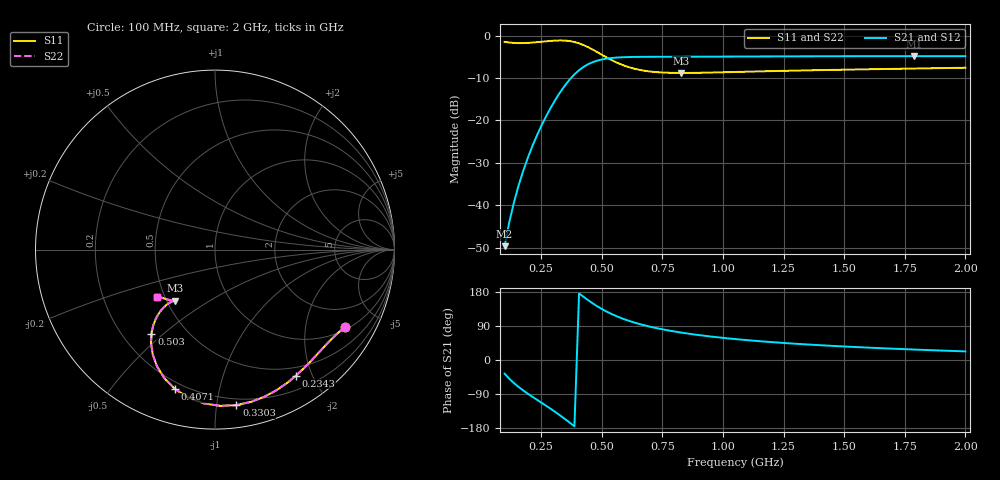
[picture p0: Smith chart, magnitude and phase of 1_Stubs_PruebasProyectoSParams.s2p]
! Created Sat Nov 25 14:30:50 2023
# hz S ri R 50
! 2 Port Network Data from SP1.SP block
! freq  reS11  imS11  reS21  imS21  reS12  imS12  reS22  imS22
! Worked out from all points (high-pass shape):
!   100 points, 100 MHz to 2 GHz, reference 50 ohm
!   highest |S21| = -4.86 dB at 1.789 GHz (marker M1); lowest = -49.6 dB at 100 MHz (marker M2)
!   |S21| within 3 dB of the highest: 414.4 MHz to end of sweep
!   lowest |S11| = -8.8 dB at 829.3 MHz (marker M3), VSWR 2.14, Z = 27.5 - j18 ohm
!   |S11| at or under -10 dB: nowhere
!   |S22| runs from -8.8 to -1.2 dB; largest |S21 - S12| = 1e-15
!   S11 on the Smith chart (normalised r, x): 100 MHz: 1.11, -3.31; 234.3 MHz: 0.38, -1.77; 330.3 MHz: 0.15, -1.13; 407.1 MHz: 0.17, -0.74; 503 MHz: 0.32, -0.46; 2 GHz: 0.45, -0.29
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1e8  0.7256 -0.4292  0.00266 -0.00194  0.00266 -0.00194  0.7256 -0.4292
1.191919e8  0.6831 -0.4663  0.00411 -0.00479  0.00411 -0.00479  0.6831 -0.4663
1.383838e8  0.6452 -0.5028  0.00525 -0.00943  0.00525 -0.00943  0.6452 -0.5028
1.575758e8  0.6093 -0.5402  0.00553 -0.0161  0.00553 -0.0161  0.6093 -0.5402
1.959596e8  0.5364 -0.6189  0.00063 -0.0364  0.00063 -0.0364  0.5364 -0.6189
2.343434e8  0.4514 -0.702  -0.0178 -0.0651  -0.0178 -0.0651  0.4514 -0.702
2.919192e8  0.2769 -0.819  -0.0917 -0.1108  -0.0917 -0.1108  0.2769 -0.819
3.30303e8  0.119 -0.8664  -0.182 -0.1186  -0.182 -0.1186  0.119 -0.8664
3.686869e8  -0.0605 -0.8575  -0.294 -0.0767  -0.294 -0.0767  -0.0605 -0.8575
4.070707e8  -0.2222 -0.7774  -0.3892 0.0299  -0.3892 0.0299  -0.2222 -0.7774
4.262626e8  -0.2819 -0.7167  -0.4161 0.1015  -0.4161 0.1015  -0.2819 -0.7167
4.646465e8  -0.3471 -0.584  -0.4174 0.2517  -0.4174 0.2517  -0.3471 -0.584
5.030303e8  -0.3542 -0.4703  -0.363 0.3777  -0.363 0.3777  -0.3542 -0.4703
5.414141e8  -0.3324 -0.3911  -0.2823 0.4646  -0.2823 0.4646  -0.3324 -0.3911
5.989899e8  -0.2895 -0.326  -0.1567 0.5338  -0.1567 0.5338  -0.2895 -0.326
7.333333e8  -0.2328 -0.2866  0.0662 0.5577  0.0662 0.5577  -0.2328 -0.2866
8.292929e8  -0.2246 -0.2843  0.1712 0.5357  0.1712 0.5357  -0.2246 -0.2843
1.059596e9  -0.2419 -0.2831  0.3267 0.4614  0.3267 0.4614  -0.2419 -0.2831
1.366667e9  -0.2762 -0.2744  0.4341 0.3682  0.4341 0.3682  -0.2762 -0.2744
1.692929e9  -0.3045 -0.2657  0.4944 0.2861  0.4944 0.2861  -0.3045 -0.2657
1.788889e9  -0.3112 -0.2641  0.5064 0.2646  0.5064 0.2646  -0.3112 -0.2641
2e9  -0.3242 -0.2629  0.5265 0.2205  0.5265 0.2205  -0.3242 -0.2629
